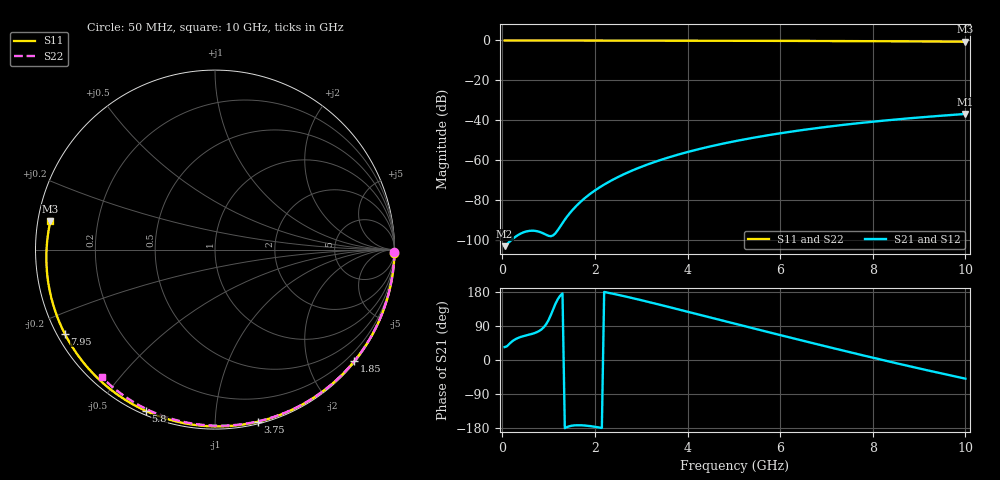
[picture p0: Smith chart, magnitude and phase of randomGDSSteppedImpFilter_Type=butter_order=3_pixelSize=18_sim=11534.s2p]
! freq	dB(S11)	phase(S11)	dB(S12)	phase(S12)
!  dB(S21)	phase(S21)	dB(S22)	phase(S22)
!S-par simulation data
#  GHz  S  DB  R 50
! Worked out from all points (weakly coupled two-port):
!   200 points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, 50 MHz to 10 GHz, reference 50 ohm
!   highest |S21| = -36.88 dB at 10 GHz (marker M1); lowest = -103.2 dB at 50 MHz (marker M2)
!   lowest |S11| = -0.6 dB at 10 GHz (marker M3), VSWR 27.89, Z = 1.81 + j4.24 ohm
!   |S11| at or under -10 dB: nowhere
!   |S22| runs from -0.4 to 0.0 dB; largest |S21 - S12| = 0
!   S11 on the Smith chart (normalised r, x): 50 MHz: open; 1.85 GHz: 0.03, -2.85; 3.75 GHz: 0.02, -1.28; 5.8 GHz: 0.02, -0.66; 7.95 GHz: 0.02, -0.26; 10 GHz: 0.04, +0.08
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0.05  -0.00 -1.1  -103.24 34.1  -103.24 34.1  -0.00 -0.8
0.45  -0.01 -9.6  -96.37 62.8  -96.37 62.8  -0.01 -6.8
0.85  -0.02 -18.0  -96.47 81.2  -96.47 81.2  -0.02 -12.9
1.25  -0.03 -26.4  -93.41 169.6  -93.41 169.6  -0.02 -18.8
1.7  -0.05 -35.6  -80.77 -172.3  -80.77 -172.3  -0.03 -25.5
1.75  -0.05 -36.7  -79.74 -172.6  -79.74 -172.6  -0.03 -26.2
1.85  -0.05 -38.7  -77.84 -173.7  -77.84 -173.7  -0.04 -27.7
2.15  -0.06 -44.8  -73.02 -179.3  -73.02 -179.3  -0.04 -32.1
2.5  -0.07 -51.8  -68.53 172.0  -68.53 172.0  -0.05 -37.1
2.9  -0.08 -59.7  -64.36 160.8  -64.36 160.8  -0.06 -42.9
3.4  -0.09 -69.4  -60.11 145.9  -60.11 145.9  -0.07 -49.9
3.75  -0.10 -76.0  -57.60 135.2  -57.60 135.2  -0.07 -54.8
4.4  -0.13 -88.1  -53.67 115.1  -53.67 115.1  -0.09 -63.6
5.05  -0.15 -99.9  -50.43 94.9  -50.43 94.9  -0.11 -72.3
5.8  -0.19 -113.2  -47.33 71.9  -47.33 71.9  -0.14 -81.9
6.7  -0.25 -128.9  -44.26 44.6  -44.26 44.6  -0.18 -93.1
7.35  -0.30 -140.2  -42.40 25.2  -42.40 25.2  -0.22 -101.0
7.95  -0.36 -150.8  -40.89 7.6  -40.89 7.6  -0.26 -108.1
8.35  -0.40 -158.0  -39.98 -4.0  -39.98 -4.0  -0.29 -112.7
9.2  -0.51 -173.8  -38.28 -27.8  -38.28 -27.8  -0.36 -122.5
9.6  -0.56 178.4  -37.56 -38.6  -37.56 -38.6  -0.40 -127.0
10  -0.62 170.3  -36.88 -49.2  -36.88 -49.2  -0.45 -131.5
